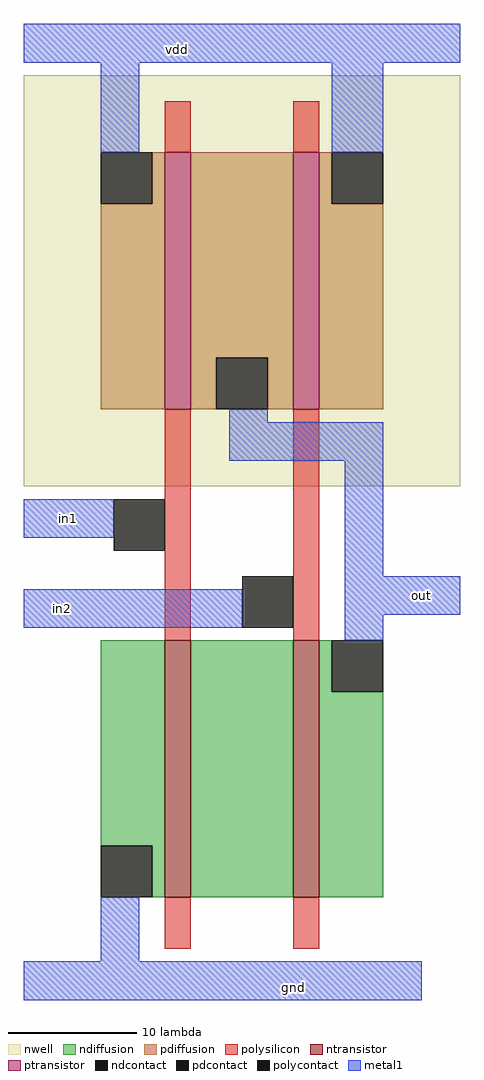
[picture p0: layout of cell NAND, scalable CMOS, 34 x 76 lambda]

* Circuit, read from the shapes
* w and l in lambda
.subckt NAND gnd in1 in2 out vdd
M1 n1 in1 gnd VSUBS nfet w=20 l=2
M2 out in2 n1 VSUBS nfet w=20 l=2
M3 out in1 vdd n2 pfet w=20 l=2
M4 vdd in2 out n2 pfet w=20 l=2
.ends

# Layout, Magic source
magic
tech scmos
<< nwell >>
rect -1 36 33 68
<< ntransistor >>
rect 10 4 12 24
rect 20 4 22 24
<< ptransistor >>
rect 10 42 12 62
rect 20 42 22 62
<< ndiffusion >>
rect 5 8 10 24
rect 9 4 10 8
rect 12 4 20 24
rect 22 20 23 24
rect 22 4 27 20
<< pdiffusion >>
rect 9 58 10 62
rect 5 42 10 58
rect 12 46 20 62
rect 12 42 14 46
rect 18 42 20 46
rect 22 58 23 62
rect 22 42 27 58
<< ndcontact >>
rect 5 4 9 8
rect 23 20 27 24
<< pdcontact >>
rect 5 58 9 62
rect 14 42 18 46
rect 23 58 27 62
<< polysilicon >>
rect 10 62 12 66
rect 20 62 22 66
rect 10 24 12 42
rect 20 24 22 42
rect 10 0 12 4
rect 20 0 22 4
<< polycontact >>
rect 6 31 10 35
rect 16 25 20 29
<< metal1 >>
rect -1 69 33 72
rect 5 62 8 69
rect 23 62 27 69
rect 15 41 18 42
rect 15 38 27 41
rect -1 32 6 35
rect 24 29 27 38
rect -1 25 16 28
rect 24 26 33 29
rect 24 24 27 26
rect 5 -1 8 4
rect -1 -4 30 -1
<< labels >>
rlabel metal1 11 70 11 70 5 vdd
rlabel metal1 2 33 3 34 1 in1
rlabel metal1 2 26 2 27 1 in2
rlabel metal1 20 -3 20 -3 1 gnd
rlabel metal1 27 26 33 29 7 out
<< end >>
